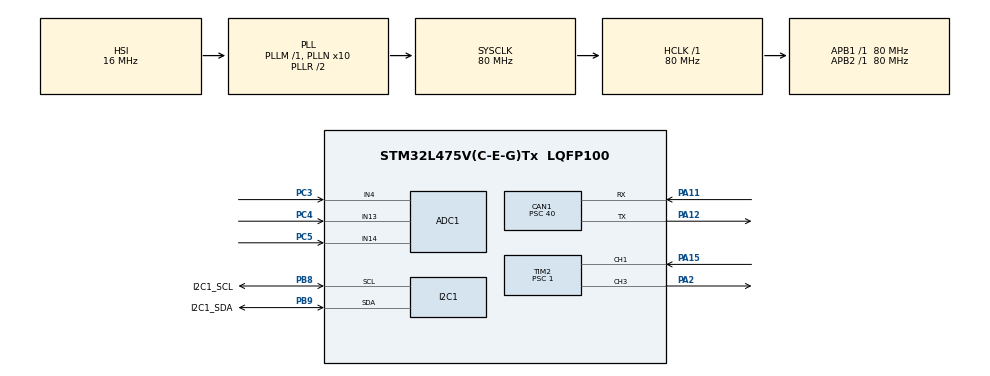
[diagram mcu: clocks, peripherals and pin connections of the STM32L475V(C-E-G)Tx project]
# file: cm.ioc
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ADC1.Channel-0\#ChannelRegularConversion=ADC_CHANNEL_4
ADC1.Channel-1\#ChannelRegularConversion=ADC_CHANNEL_4
ADC1.Channel-2\#ChannelRegularConversion=ADC_CHANNEL_4
ADC1.NbrOfConversion=3
ADC1.NbrOfConversionFlag=1
ADC1.OffsetNumber-0\#ChannelRegularConversion=ADC_OFFSET_NONE
ADC1.OffsetNumber-1\#ChannelRegularConversion=ADC_OFFSET_NONE
ADC1.OffsetNumber-2\#ChannelRegularConversion=ADC_OFFSET_NONE
ADC1.Rank-0\#ChannelRegularConversion=1
ADC1.Rank-1\#ChannelRegularConversion=2
ADC1.Rank-2\#ChannelRegularConversion=3
ADC1.SamplingTime-0\#ChannelRegularConversion=ADC_SAMPLETIME_640CYCLES_5
ADC1.SamplingTime-1\#ChannelRegularConversion=ADC_SAMPLETIME_640CYCLES_5
ADC1.SamplingTime-2\#ChannelRegularConversion=ADC_SAMPLETIME_640CYCLES_5
ADC1.master=1
CAN1.BS1=CAN_BS1_15TQ
CAN1.BS2=CAN_BS2_4TQ
CAN1.CalculateBaudRate=100000
CAN1.CalculateTimeBit=10000
CAN1.CalculateTimeQuantum=500.0
CAN1.Prescaler=40
CAN1.SJW=CAN_SJW_3TQ
I2C1.Timing=0x10909CEC
Mcu.Family=STM32L4
Mcu.Name=STM32L475V(C-E-G)Tx
Mcu.Package=LQFP100
NVIC.PriorityGroup=NVIC_PRIORITYGROUP_4
NVIC.TIM2_IRQn=true\:1\:0\:true\:false\:true\:true\:true\:true
PA11.Mode=CAN_Activate
PA11.Signal=CAN1_RX
PA12.Mode=CAN_Activate
PA12.Signal=CAN1_TX
PA15\ (JTDI).Signal=S_TIM2_CH1
PA2.Signal=S_TIM2_CH3
PB8.GPIO_Label=I2C1_SCL
PB8.GPIO_Pu=GPIO_PULLUP
PB8.Mode=I2C
PB8.Signal=I2C1_SCL
PB9.GPIO_Label=I2C1_SDA
PB9.GPIO_Pu=GPIO_PULLUP
PB9.Mode=I2C
PB9.Signal=I2C1_SDA
PC3.Signal=ADCx_IN4
PC4.Signal=ADCx_IN13
PC5.Signal=ADCx_IN14
ProjectManager.HeapSize=0x200
ProjectManager.StackSize=0x400
ProjectManager.TargetToolchain=STM32CubeIDE
RCC.ADCFreq_Value=64000000
RCC.AHBFreq_Value=80000000
RCC.APB1Freq_Value=80000000
RCC.APB1TimFreq_Value=80000000
RCC.APB2Freq_Value=80000000
RCC.APB2TimFreq_Value=80000000
RCC.CortexFreq_Value=80000000
RCC.HCLKFreq_Value=80000000
RCC.HSE_VALUE=8000000
RCC.HSI_VALUE=16000000
RCC.LSE_VALUE=32768
RCC.MSI_VALUE=4000000
RCC.PLLN=10
RCC.PLLSourceVirtual=RCC_PLLSOURCE_HSI
RCC.SYSCLKFreq_VALUE=80000000
RCC.SYSCLKSource=RCC_SYSCLKSOURCE_PLLCLK
RCC.USBFreq_Value=64000000
RCC.VCOOutputFreq_Value=160000000
SH.ADCx_IN13.0=ADC1_IN13,IN13-Single-Ended
SH.ADCx_IN14.0=ADC1_IN14,IN14-Single-Ended
SH.ADCx_IN4.0=ADC1_IN4,IN4-Single-Ended
SH.S_TIM2_CH1.0=TIM2_CH1,Input_Capture1_from_TI1
SH.S_TIM2_CH3.0=TIM2_CH3,PWM Generation3 CH3
TIM2.AutoReloadPreload=TIM_AUTORELOAD_PRELOAD_ENABLE
TIM2.Channel-Input_Capture1_from_TI1=TIM_CHANNEL_1
TIM2.Channel-PWM\ Generation3\ CH3=TIM_CHANNEL_3
TIM2.ClockDivision=TIM_CLOCKDIVISION_DIV4
TIM2.ICPolarity_CH1=TIM_INPUTCHANNELPOLARITY_BOTHEDGE
TIM2.Period=10000
TIM2.Prescaler=1
board=custom

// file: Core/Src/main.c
/* USER CODE BEGIN Header */
/**
  ******************************************************************************
  * @file           : main.c
  * @brief          : Main program body
  ******************************************************************************
  * @attention
  *
  * Copyright (c) 2022 STMicroelectronics.
  * All rights reserved.
  *
  * This software is licensed under terms that can be found in the LICENSE file
  * in the root directory of this software component.
  * If no LICENSE file comes with this software, it is provided AS-IS.
  *
  ******************************************************************************
  */
/* USER CODE END Header */
#include "main.h"

/* USER CODE BEGIN Includes */
#include <stdio.h>
#include "ms5837-i2c.h"
/* USER CODE END Includes */

/* USER CODE BEGIN PTD */
typedef enum cm_state_t {
      INIT,            // Init system.
      CANID,           // Read PWM and identify myself.
      CANVALVECMD,     // Read CAN bus valve commands and act upon then.
      CANPRESSUREREAD, // Read pressure.
      CANHEIGHTREAD,   // Read height.
      TEMPREAD,        // Read temperature.
      READADC,         // READ ADC
      CANSTATUSREPORT  // Report status.
} cm_state_t;
/* USER CODE END PTD */

ADC_HandleTypeDef hadc1;

CAN_HandleTypeDef hcan1;

I2C_HandleTypeDef hi2c1;

TIM_HandleTypeDef htim2;

/* USER CODE BEGIN PV */
cm_state_t cmFsm = INIT;

/* USER CODE END PV */

void SystemClock_Config(void);
static void MX_GPIO_Init(void);
static void MX_TIM2_Init(void);
static void MX_CAN1_Init(void);
static void MX_ADC1_Init(void);
static void MX_I2C1_Init(void);

/* USER CODE BEGIN 0 */

// Counter
#define MAX_COUNT    1000
#define SECS(x)      x / 0.01
#define AVG_DATA_LEN 10
#define CAN_ADDRESS(designator, value_6_bit) (((uint16_t)designator << 6) | (uint16_t)value_6_bit)

uint16_t canAddresses[] = {
    CAN_ADDRESS(0xA, 0),
    CAN_ADDRESS(0xA, 1),
    CAN_ADDRESS(0xA, 2),
    CAN_ADDRESS(0xA, 3),
    CAN_ADDRESS(0xA, 4),
    CAN_ADDRESS(0xA, 5),
    CAN_ADDRESS(0xA, 6),
    CAN_ADDRESS(0xA, 7)
};
uint16_t myCANAddress = CAN_ADDRESS(0xA, 0);
uint32_t counter = MAX_COUNT;
uint32_t toggle  = 1;
uint32_t pwmOnTime = 0;
uint32_t canIdCounter = 0;

#define TIMCLOCK   90000000
#define PRESCALAR  90

uint32_t icVal1 = 0;     // Input capture value 1 (rising edge)
uint32_t icVal2 = 0;     // Input capture value 2 (falling edge)
uint32_t difference = 0; // Difference of the two above values
int isFirstCaptured = 0; // State of edge capture

float    frequency          = 0;
uint32_t usWidth            = 0;
uint32_t data[AVG_DATA_LEN] = {0,}; // Running average array
float    avgWidth           = 0.0f; // Average pulse width

uint32_t adcVal[3];
float adcVoltage[3];

MS5837_Sensor_Result sensorResult;
float temperature;
float pressure;

#if 0
void HAL_TIM_IC_CaptureCallback(TIM_HandleTypeDef *htim)
{
    if (htim->Channel == HAL_TIM_ACTIVE_CHANNEL_4)
    {
        if (Is_First_Captured==0) // if the first rising edge is not captured
        {
            IC_Val1 = HAL_TIM_ReadCapturedValue(htim, TIM_CHANNEL_4); // read the first value
            Is_First_Captured = 1;  // set the first captured as true
        }

        else   // If the first rising edge is captured, now we will capture the second edge
        {
            IC_Val2 = HAL_TIM_ReadCapturedValue(htim, TIM_CHANNEL_4);  // read second value

            if (IC_Val2 > IC_Val1)
            {
                Difference = IC_Val2-IC_Val1;
            }

            else if (IC_Val1 > IC_Val2)
            {
                Difference = (0xffffffff - IC_Val1) + IC_Val2;
            }

            float refClock = TIMCLOCK/(PRESCALAR);

            frequency = refClock/Difference;

            __HAL_TIM_SET_COUNTER(htim, 0);  // reset the counter
            Is_First_Captured = 0; // set it back to false
        }
    }
}
#endif

float avg(uint32_t *data, uint32_t len, uint32_t newValue) {
    float    avg = 0;
    float    sum = 0;
    uint32_t i   = 0;

    // Shift all values
    sum = sum - (float)data[0];
    for (i = 1; i < len; i++) {
        data[i - 1] = data[i];
    }
    data[i - 1] = newValue;
    sum = sum + (float)newValue;
    avg = sum / len;

    return avg;
}

void HAL_TIM_IC_CaptureCallback(TIM_HandleTypeDef *htim) {
    if (htim->Channel == HAL_TIM_ACTIVE_CHANNEL_1)  {                // if the interrupt source is channel1
        if (isFirstCaptured == 0) {                                  // if the first value is not captured
            icVal1 = HAL_TIM_ReadCapturedValue(htim, TIM_CHANNEL_1); // read the first value
            isFirstCaptured = 1;                                     // set the first captured as true
        } else {                                                     // if the first is already captured
            icVal2 = HAL_TIM_ReadCapturedValue(htim, TIM_CHANNEL_1); // read second value

            if (icVal2 > icVal1) {
                difference = icVal2 - icVal1;
            } else if (icVal1 > icVal2) {
                difference = (0xffffffff - icVal1) + icVal2;
            }

            float refClock = TIMCLOCK / (PRESCALAR);
            float mFactor  = 1000000 / refClock;

            usWidth  = difference * mFactor;
            if (usWidth < htim->Init.Period) {                        // Check to make sure we are not getting overflow
                avgWidth = avg(data, AVG_DATA_LEN, usWidth);
            }

            // ------------------------------------------------------------------
            // *** SidRay - DO NOT RESET THE COUNTER. ***
            // Resetting the counter messes up the the base counter and the pwm
            //__HAL_TIM_SET_COUNTER(htim, 0);  // reset the counter
            // ------------------------------------------------------------------

            isFirstCaptured = 0; // set it back to false
        }
    }
}

void delay(uint32_t maxDelayAmount) {
    volatile uint32_t amount = maxDelayAmount;
    while (amount > 0) {
        amount--;
    }
}

void channelSelect(int channel) {
    ADC_ChannelConfTypeDef sConfig = {0};
    if (channel == 1) {
        sConfig.Channel = ADC_CHANNEL_4;
    } else if (channel == 2) {
        sConfig.Channel = ADC_CHANNEL_13;
    } else if (channel == 3) {
        sConfig.Channel = ADC_CHANNEL_14;
    }
    sConfig.Rank = ADC_REGULAR_RANK_1;
    sConfig.SamplingTime = ADC_SAMPLETIME_640CYCLES_5;
    sConfig.SingleDiff = ADC_SINGLE_ENDED;
    sConfig.OffsetNumber = ADC_OFFSET_NONE;
    sConfig.Offset = 0;
    if (HAL_ADC_ConfigChannel(&hadc1, &sConfig) != HAL_OK) {
        Error_Handler();
    }
}

/* USER CODE END 0 */

int main(void)
{

  /* MCU Configuration--------------------------------------------------------*/

  /* Reset of all peripherals, Initializes the Flash interface and the Systick. */
  HAL_Init();

  /* Configure the system clock */
  SystemClock_Config();

  /* Initialize all configured peripherals */
  MX_GPIO_Init();
  MX_TIM2_Init();
  MX_CAN1_Init();
  MX_ADC1_Init();
  MX_I2C1_Init();
  /* USER CODE BEGIN 2 */
  HAL_TIM_PWM_Start(&htim2, TIM_CHANNEL_3);
  HAL_TIM_Base_Start_IT(&htim2);
  HAL_TIM_IC_Start_IT(&htim2, TIM_CHANNEL_1);
  MS5837Init(&hi2c1);
  /* USER CODE END 2 */

  /* Infinite loop */
  /* USER CODE BEGIN WHILE */
  pwmOnTime = 2000;
  while (1)
  {
    /* USER CODE END WHILE */

    /* USER CODE BEGIN 3 */

      // Decrement toggle counter.
      counter--;
      if (counter == 0) {
          counter = MAX_COUNT;
          toggle = 1 - toggle;
      }

      // Timer2 channel 3 is pwm generation.
#if TEST
      TIM2->CCR3 = pwmOnTime;
      if (toggle) {
          pwmOnTime++;
      } else {
          pwmOnTime--;
      }
#endif

      printf("usWidth = %d", (int)usWidth);

      // Toggle PB8 - CN1 pin 10.
      if (toggle) {
          HAL_GPIO_WritePin(GPIOB, GPIO_PIN_8, GPIO_PIN_RESET);
      } else {
          HAL_GPIO_WritePin(GPIOB, GPIO_PIN_8, GPIO_PIN_SET);
      }
      delay(5000);

      switch (cmFsm) {
      case INIT:            // Initialize
          canIdCounter = 0;
          cmFsm = CANID;
          break;
      case CANID:           // Read PWM and identify myself.
          canIdCounter++;
          if (canIdCounter > SECS(4)) {
              cmFsm = CANVALVECMD;

              float duty = avgWidth / htim2.Init.Period;

              if (duty >= 89.0f && duty < 100.0f) {
                  myCANAddress = canAddresses[0];
                  TIM2->CCR3 = (uint32_t)(0.8f * (float)htim2.Init.Period);
              } else if (duty > 79.0f && duty < 89.0f) {
                  myCANAddress = canAddresses[1];
                  TIM2->CCR3 = (uint32_t)(0.7f * (float)htim2.Init.Period);
              } else if (duty > 69.0f && duty < 79.0f) {
                  myCANAddress = canAddresses[2];
                  TIM2->CCR3 = (uint32_t)(0.6f * (float)htim2.Init.Period);
              } else if (duty > 59.0f && duty < 69.0f) {
                  myCANAddress = canAddresses[3];
                  TIM2->CCR3 = (uint32_t)(0.5f * (float)htim2.Init.Period);
              } else if (duty > 49.0f && duty < 59.0f) {
                  myCANAddress = canAddresses[4];
                  TIM2->CCR3 = (uint32_t)(0.4f * (float)htim2.Init.Period);
              } else if (duty > 39.0f && duty < 49.0f) {
                  myCANAddress = canAddresses[5];
                  TIM2->CCR3 = (uint32_t)(0.3f * (float)htim2.Init.Period);
              } else if (duty > 29.0f && duty < 39.0f) {
                  myCANAddress = canAddresses[6];
                  TIM2->CCR3 = (uint32_t)(0.2f * (float)htim2.Init.Period);
              } else if (duty > 19.0f && duty < 29.0f) {
                  myCANAddress = canAddresses[7];
                  TIM2->CCR3 = (uint32_t)(0.1f * (float)htim2.Init.Period);
              } else {
                  cmFsm = INIT;
                  TIM2->CCR3 = (uint32_t)(0.95f * (float)htim2.Init.Period);
              }
          }

          // IMPORTANT : Jump state for testing only
          cmFsm = CANVALVECMD;
          break;
      case CANVALVECMD:     // Read CAN bus valve commands and act upon then.
          cmFsm = CANPRESSUREREAD;
          break;
      case CANPRESSUREREAD: // Read pressure.
          cmFsm = CANHEIGHTREAD;
          break;
      case CANHEIGHTREAD:   // Read height.
          cmFsm = TEMPREAD;
          break;
      case TEMPREAD:        // Read temperature.
          cmFsm = READADC;
          break;
      case READADC:         // Read ADC.
          cmFsm = CANSTATUSREPORT;
          break;
      case CANSTATUSREPORT:  // Report status.
          channelSelect(1);
          HAL_ADC_Start(&hadc1);
          HAL_ADC_PollForConversion(&hadc1, 1000);
          adcVal[0] = HAL_ADC_GetValue(&hadc1);
          HAL_ADC_Stop(&hadc1);

          channelSelect(2);
          HAL_ADC_Start(&hadc1);
          HAL_ADC_PollForConversion(&hadc1, 1000);
          adcVal[1] = HAL_ADC_GetValue(&hadc1);
          HAL_ADC_Stop(&hadc1);

          channelSelect(3);
          HAL_ADC_Start(&hadc1);
          HAL_ADC_PollForConversion(&hadc1, 1000);
          adcVal[2] = HAL_ADC_GetValue(&hadc1);
          HAL_ADC_Stop(&hadc1);

          adcVoltage[0] = 3.3f * ((float)adcVal[0] / 4095.0f);
          adcVoltage[1] = 3.3f * ((float)adcVal[1] / 4095.0f);
          adcVoltage[2] = 3.3f * ((float)adcVal[2] / 4095.0f);

          i2cTransDelay = 1;
          int32_t i2cStatus = MS5837Read(&hi2c1, &sensorResult);

          temperature = sensorResult.temperature;
          pressure    = sensorResult.pressure;

          cmFsm = CANVALVECMD;
          break;
      default:
          break;
      }

      //HAL_Delay(10);
  }
  /* USER CODE END 3 */
}

void SystemClock_Config(void)
{
  RCC_OscInitTypeDef RCC_OscInitStruct = {0};
  RCC_ClkInitTypeDef RCC_ClkInitStruct = {0};

  /** Configure the main internal regulator output voltage
  */
  if (HAL_PWREx_ControlVoltageScaling(PWR_REGULATOR_VOLTAGE_SCALE1) != HAL_OK)
  {
    Error_Handler();
  }

  /** Initializes the RCC Oscillators according to the specified parameters
  * in the RCC_OscInitTypeDef structure.
  */
  RCC_OscInitStruct.OscillatorType = RCC_OSCILLATORTYPE_HSI;
  RCC_OscInitStruct.HSIState = RCC_HSI_ON;
  RCC_OscInitStruct.HSICalibrationValue = RCC_HSICALIBRATION_DEFAULT;
  RCC_OscInitStruct.PLL.PLLState = RCC_PLL_ON;
  RCC_OscInitStruct.PLL.PLLSource = RCC_PLLSOURCE_HSI;
  RCC_OscInitStruct.PLL.PLLM = 1;
  RCC_OscInitStruct.PLL.PLLN = 10;
  RCC_OscInitStruct.PLL.PLLP = RCC_PLLP_DIV7;
  RCC_OscInitStruct.PLL.PLLQ = RCC_PLLQ_DIV2;
  RCC_OscInitStruct.PLL.PLLR = RCC_PLLR_DIV2;
  if (HAL_RCC_OscConfig(&RCC_OscInitStruct) != HAL_OK)
  {
    Error_Handler();
  }

  /** Initializes the CPU, AHB and APB buses clocks
  */
  RCC_ClkInitStruct.ClockType = RCC_CLOCKTYPE_HCLK|RCC_CLOCKTYPE_SYSCLK
                              |RCC_CLOCKTYPE_PCLK1|RCC_CLOCKTYPE_PCLK2;
  RCC_ClkInitStruct.SYSCLKSource = RCC_SYSCLKSOURCE_PLLCLK;
  RCC_ClkInitStruct.AHBCLKDivider = RCC_SYSCLK_DIV1;
  RCC_ClkInitStruct.APB1CLKDivider = RCC_HCLK_DIV1;
  RCC_ClkInitStruct.APB2CLKDivider = RCC_HCLK_DIV1;

  if (HAL_RCC_ClockConfig(&RCC_ClkInitStruct, FLASH_LATENCY_4) != HAL_OK)
  {
    Error_Handler();
  }
}

static void MX_ADC1_Init(void)
{

  ADC_MultiModeTypeDef multimode = {0};
  ADC_ChannelConfTypeDef sConfig = {0};

  /* USER CODE BEGIN ADC1_Init 1 */

  // Manually copy this from the IOC generated code!!

  // Common config
  hadc1.Instance = ADC1;
  hadc1.Init.ClockPrescaler = ADC_CLOCK_ASYNC_DIV1;
  hadc1.Init.Resolution = ADC_RESOLUTION_12B;
  hadc1.Init.DataAlign = ADC_DATAALIGN_RIGHT;
  hadc1.Init.ScanConvMode = ADC_SCAN_ENABLE;
  hadc1.Init.EOCSelection = ADC_EOC_SINGLE_CONV;
  hadc1.Init.LowPowerAutoWait = DISABLE;
  hadc1.Init.ContinuousConvMode = DISABLE;
  hadc1.Init.NbrOfConversion = 1;
  hadc1.Init.DiscontinuousConvMode = DISABLE;
  hadc1.Init.ExternalTrigConv = ADC_SOFTWARE_START;
  hadc1.Init.ExternalTrigConvEdge = ADC_EXTERNALTRIGCONVEDGE_NONE;
  hadc1.Init.DMAContinuousRequests = DISABLE;
  hadc1.Init.Overrun = ADC_OVR_DATA_PRESERVED;
  hadc1.Init.OversamplingMode = DISABLE;
  if (HAL_ADC_Init(&hadc1) != HAL_OK)
  {
    Error_Handler();
  }
  multimode.Mode = ADC_MODE_INDEPENDENT;
  if (HAL_ADCEx_MultiModeConfigChannel(&hadc1, &multimode) != HAL_OK)
  {
    Error_Handler();
  }

#if 0
  /* USER CODE END ADC1_Init 1 */

  /** Common config
  */
  hadc1.Instance = ADC1;
  hadc1.Init.ClockPrescaler = ADC_CLOCK_ASYNC_DIV1;
  hadc1.Init.Resolution = ADC_RESOLUTION_12B;
  hadc1.Init.DataAlign = ADC_DATAALIGN_RIGHT;
  hadc1.Init.ScanConvMode = ADC_SCAN_ENABLE;
  hadc1.Init.EOCSelection = ADC_EOC_SINGLE_CONV;
  hadc1.Init.LowPowerAutoWait = DISABLE;
  hadc1.Init.ContinuousConvMode = DISABLE;
  hadc1.Init.NbrOfConversion = 3;
  hadc1.Init.DiscontinuousConvMode = DISABLE;
  hadc1.Init.ExternalTrigConv = ADC_SOFTWARE_START;
  hadc1.Init.ExternalTrigConvEdge = ADC_EXTERNALTRIGCONVEDGE_NONE;
  hadc1.Init.DMAContinuousRequests = DISABLE;
  hadc1.Init.Overrun = ADC_OVR_DATA_PRESERVED;
  hadc1.Init.OversamplingMode = DISABLE;
  if (HAL_ADC_Init(&hadc1) != HAL_OK)
  {
    Error_Handler();
  }

  /** Configure the ADC multi-mode
  */
  multimode.Mode = ADC_MODE_INDEPENDENT;
  if (HAL_ADCEx_MultiModeConfigChannel(&hadc1, &multimode) != HAL_OK)
  {
    Error_Handler();
  }

  /** Configure Regular Channel
  */
  sConfig.Channel = ADC_CHANNEL_4;
  sConfig.Rank = ADC_REGULAR_RANK_1;
  sConfig.SamplingTime = ADC_SAMPLETIME_640CYCLES_5;
  sConfig.SingleDiff = ADC_SINGLE_ENDED;
  sConfig.OffsetNumber = ADC_OFFSET_NONE;
  sConfig.Offset = 0;
  if (HAL_ADC_ConfigChannel(&hadc1, &sConfig) != HAL_OK)
  {
    Error_Handler();
  }

  /** Configure Regular Channel
  */
  sConfig.Rank = ADC_REGULAR_RANK_2;
  if (HAL_ADC_ConfigChannel(&hadc1, &sConfig) != HAL_OK)
  {
    Error_Handler();
  }

  /** Configure Regular Channel
  */
  sConfig.Rank = ADC_REGULAR_RANK_3;
  if (HAL_ADC_ConfigChannel(&hadc1, &sConfig) != HAL_OK)
  {
    Error_Handler();
  }
  /* USER CODE BEGIN ADC1_Init 2 */
#endif
  /* USER CODE END ADC1_Init 2 */

}

static void MX_CAN1_Init(void)
{

  hcan1.Instance = CAN1;
  hcan1.Init.Prescaler = 40;
  hcan1.Init.Mode = CAN_MODE_NORMAL;
  hcan1.Init.SyncJumpWidth = CAN_SJW_3TQ;
  hcan1.Init.TimeSeg1 = CAN_BS1_15TQ;
  hcan1.Init.TimeSeg2 = CAN_BS2_4TQ;
  hcan1.Init.TimeTriggeredMode = DISABLE;
  hcan1.Init.AutoBusOff = DISABLE;
  hcan1.Init.AutoWakeUp = DISABLE;
  hcan1.Init.AutoRetransmission = DISABLE;
  hcan1.Init.ReceiveFifoLocked = DISABLE;
  hcan1.Init.TransmitFifoPriority = DISABLE;
  if (HAL_CAN_Init(&hcan1) != HAL_OK)
  {
    Error_Handler();
  }

}

static void MX_I2C1_Init(void)
{

  hi2c1.Instance = I2C1;
  hi2c1.Init.Timing = 0x10909CEC;
  hi2c1.Init.OwnAddress1 = 0;
  hi2c1.Init.AddressingMode = I2C_ADDRESSINGMODE_7BIT;
  hi2c1.Init.DualAddressMode = I2C_DUALADDRESS_DISABLE;
  hi2c1.Init.OwnAddress2 = 0;
  hi2c1.Init.OwnAddress2Masks = I2C_OA2_NOMASK;
  hi2c1.Init.GeneralCallMode = I2C_GENERALCALL_DISABLE;
  hi2c1.Init.NoStretchMode = I2C_NOSTRETCH_DISABLE;
  if (HAL_I2C_Init(&hi2c1) != HAL_OK)
  {
    Error_Handler();
  }

  /** Configure Analogue filter
  */
  if (HAL_I2CEx_ConfigAnalogFilter(&hi2c1, I2C_ANALOGFILTER_ENABLE) != HAL_OK)
  {
    Error_Handler();
  }

  /** Configure Digital filter
  */
  if (HAL_I2CEx_ConfigDigitalFilter(&hi2c1, 0) != HAL_OK)
  {
    Error_Handler();
  }

}

static void MX_TIM2_Init(void)
{

  TIM_MasterConfigTypeDef sMasterConfig = {0};
  TIM_IC_InitTypeDef sConfigIC = {0};
  TIM_OC_InitTypeDef sConfigOC = {0};

  htim2.Instance = TIM2;
  htim2.Init.Prescaler = 1;
  htim2.Init.CounterMode = TIM_COUNTERMODE_UP;
  htim2.Init.Period = 10000;
  htim2.Init.ClockDivision = TIM_CLOCKDIVISION_DIV4;
  htim2.Init.AutoReloadPreload = TIM_AUTORELOAD_PRELOAD_ENABLE;
  if (HAL_TIM_IC_Init(&htim2) != HAL_OK)
  {
    Error_Handler();
  }
  if (HAL_TIM_PWM_Init(&htim2) != HAL_OK)
  {
    Error_Handler();
  }
  sMasterConfig.MasterOutputTrigger = TIM_TRGO_RESET;
  sMasterConfig.MasterSlaveMode = TIM_MASTERSLAVEMODE_DISABLE;
  if (HAL_TIMEx_MasterConfigSynchronization(&htim2, &sMasterConfig) != HAL_OK)
  {
    Error_Handler();
  }
  sConfigIC.ICPolarity = TIM_INPUTCHANNELPOLARITY_BOTHEDGE;
  sConfigIC.ICSelection = TIM_ICSELECTION_DIRECTTI;
  sConfigIC.ICPrescaler = TIM_ICPSC_DIV1;
  sConfigIC.ICFilter = 0;
  if (HAL_TIM_IC_ConfigChannel(&htim2, &sConfigIC, TIM_CHANNEL_1) != HAL_OK)
  {
    Error_Handler();
  }
  sConfigOC.OCMode = TIM_OCMODE_PWM1;
  sConfigOC.Pulse = 0;
  sConfigOC.OCPolarity = TIM_OCPOLARITY_HIGH;
  sConfigOC.OCFastMode = TIM_OCFAST_DISABLE;
  if (HAL_TIM_PWM_ConfigChannel(&htim2, &sConfigOC, TIM_CHANNEL_3) != HAL_OK)
  {
    Error_Handler();
  }
  HAL_TIM_MspPostInit(&htim2);

}

static void MX_GPIO_Init(void)
{

  /* GPIO Ports Clock Enable */
  __HAL_RCC_GPIOC_CLK_ENABLE();
  __HAL_RCC_GPIOA_CLK_ENABLE();
  __HAL_RCC_GPIOB_CLK_ENABLE();

}

void Error_Handler(void)
{
  __disable_irq();
  while (1)
  {
  }
}
